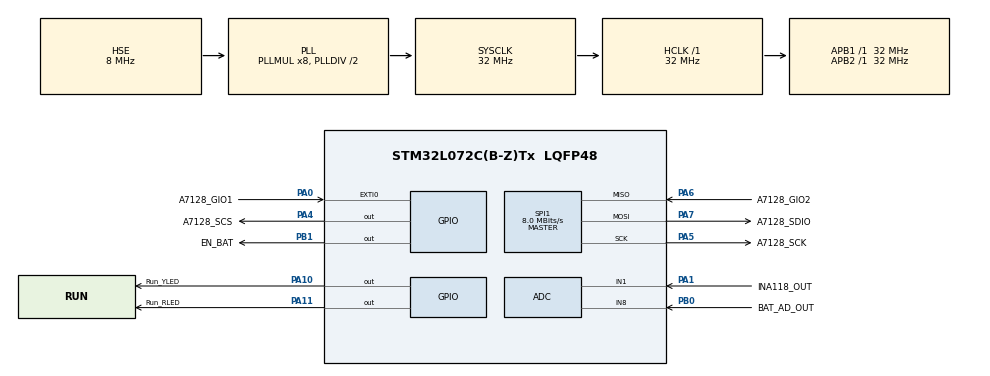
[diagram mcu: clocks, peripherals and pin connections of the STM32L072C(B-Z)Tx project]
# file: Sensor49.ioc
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ADC.ClockPrescaler=ADC_CLOCK_SYNC_PCLK_DIV4
ADC.ContinuousConvMode=DISABLE
ADC.DMAContinuousRequests=ENABLE
ADC.DiscontinuousConvMode=DISABLE
ADC.EOCSelection=ADC_EOC_SINGLE_CONV
ADC.ExternalTrigConv=ADC_EXTERNALTRIGCONV_T2_TRGO
ADC.Overrun=ADC_OVR_DATA_OVERWRITTEN
ADC.OversamplingMode=ENABLE
ADC.Ratio=ADC_OVERSAMPLING_RATIO_8
ADC.RightBitShift=ADC_RIGHTBITSHIFT_3
ADC.SamplingTime=ADC_SAMPLETIME_19CYCLES_5
ADC.TriggeredMode=ADC_TRIGGEREDMODE_SINGLE_TRIGGER
Dma.ADC.2.Direction=DMA_PERIPH_TO_MEMORY
Dma.ADC.2.Instance=DMA1_Channel1
Dma.ADC.2.MemDataAlignment=DMA_MDATAALIGN_HALFWORD
Dma.ADC.2.MemInc=DMA_MINC_ENABLE
Dma.ADC.2.Mode=DMA_CIRCULAR
Dma.ADC.2.PeriphDataAlignment=DMA_PDATAALIGN_HALFWORD
Dma.ADC.2.PeriphInc=DMA_PINC_DISABLE
Dma.ADC.2.Priority=DMA_PRIORITY_MEDIUM
Dma.Request0=SPI1_TX
Dma.Request1=SPI1_RX
Dma.Request2=ADC
Dma.SPI1_RX.1.Direction=DMA_PERIPH_TO_MEMORY
Dma.SPI1_RX.1.Instance=DMA1_Channel2
Dma.SPI1_RX.1.MemDataAlignment=DMA_MDATAALIGN_BYTE
Dma.SPI1_RX.1.MemInc=DMA_MINC_ENABLE
Dma.SPI1_RX.1.Mode=DMA_NORMAL
Dma.SPI1_RX.1.PeriphDataAlignment=DMA_PDATAALIGN_BYTE
Dma.SPI1_RX.1.PeriphInc=DMA_PINC_DISABLE
Dma.SPI1_RX.1.Priority=DMA_PRIORITY_LOW
Dma.SPI1_TX.0.Direction=DMA_MEMORY_TO_PERIPH
Dma.SPI1_TX.0.Instance=DMA1_Channel3
Dma.SPI1_TX.0.MemDataAlignment=DMA_MDATAALIGN_BYTE
Dma.SPI1_TX.0.MemInc=DMA_MINC_ENABLE
Dma.SPI1_TX.0.Mode=DMA_NORMAL
Dma.SPI1_TX.0.PeriphDataAlignment=DMA_PDATAALIGN_BYTE
Dma.SPI1_TX.0.PeriphInc=DMA_PINC_DISABLE
Dma.SPI1_TX.0.Priority=DMA_PRIORITY_LOW
Mcu.Family=STM32L0
Mcu.Name=STM32L072C(B-Z)Tx
Mcu.Package=LQFP48
NVIC.DMA1_Channel1_IRQn=true\:0\:0\:false\:false\:true\:false\:true
NVIC.DMA1_Channel2_3_IRQn=true\:1\:0\:true\:false\:true\:false\:true
NVIC.EXTI0_1_IRQn=true\:1\:0\:true\:false\:true\:true\:true
NVIC.TIM6_DAC_IRQn=true\:1\:0\:true\:false\:true\:true\:true
NVIC.TIM7_IRQn=true\:1\:0\:true\:false\:true\:true\:true
PA0.GPIO_Label=A7128_GIO1
PA0.GPIO_ModeDefaultEXTI=GPIO_MODE_IT_FALLING
PA0.GPIO_PuPd=GPIO_PULLUP
PA0.Signal=GPXTI0
PA1.GPIO_Label=INA118_OUT
PA1.Mode=IN1
PA1.Signal=ADC_IN1
PA10.GPIO_Label=Run_YLED
PA10.PinState=GPIO_PIN_SET
PA10.Signal=GPIO_Output
PA11.GPIO_Label=Run_RLED
PA11.PinState=GPIO_PIN_SET
PA11.Signal=GPIO_Output
PA13.Mode=Serial_Wire
PA13.Signal=SYS_SWDIO
PA14.Mode=Serial_Wire
PA14.Signal=SYS_SWCLK
PA4.GPIO_Label=A7128_SCS
PA4.GPIO_ModeDefaultOutputPP=GPIO_MODE_OUTPUT_PP
PA4.GPIO_PuPd=GPIO_PULLUP
PA4.GPIO_Speed=GPIO_SPEED_FREQ_HIGH
PA4.PinState=GPIO_PIN_SET
PA4.Signal=GPIO_Output
PA5.GPIO_Label=A7128_SCK
PA5.Mode=Full_Duplex_Master
PA5.Signal=SPI1_SCK
PA6.GPIO_Label=A7128_GIO2
PA6.Mode=Full_Duplex_Master
PA6.Signal=SPI1_MISO
PA7.GPIO_Label=A7128_SDIO
PA7.Mode=Full_Duplex_Master
PA7.Signal=SPI1_MOSI
PB0.GPIO_Label=BAT_AD_OUT
PB0.Mode=IN8
PB0.Signal=ADC_IN8
PB1.GPIO_Label=EN_BAT
PB1.Signal=GPIO_Output
PH0-OSC_IN.Mode=HSE-External-Oscillator
PH0-OSC_IN.Signal=RCC_OSC_IN
PH1-OSC_OUT.Mode=HSE-External-Oscillator
PH1-OSC_OUT.Signal=RCC_OSC_OUT
ProjectManager.HeapSize=0x200
ProjectManager.StackSize=0x400
ProjectManager.TargetToolchain=Other Toolchains (GPDSC)
RCC.ADCFreq_Value=16000000
RCC.AHBFreq_Value=32000000
RCC.APB1Freq_Value=32000000
RCC.APB1TimFreq_Value=32000000
RCC.APB2Freq_Value=32000000
RCC.APB2TimFreq_Value=32000000
RCC.HCLKFreq_Value=32000000
RCC.HSE_VALUE=8000000
RCC.HSI16_VALUE=16000000
RCC.HSI48_VALUE=48000000
RCC.HSI_VALUE=16000000
RCC.LSE_VALUE=32768
RCC.MSI_VALUE=2097000
RCC.PLLMUL=RCC_PLLMUL_8
RCC.PLLSourceVirtual=RCC_PLLSOURCE_HSE
RCC.SYSCLKFreq_VALUE=32000000
RCC.SYSCLKSource=RCC_SYSCLKSOURCE_PLLCLK
RCC.VCOOutputFreq_Value=64000000
SPI1.BaudRatePrescaler=SPI_BAUDRATEPRESCALER_4
SPI1.CalculateBaudRate=8.0 MBits/s
SPI1.Direction=SPI_DIRECTION_2LINES
SPI1.Mode=SPI_MODE_MASTER
SPI1.TIMode=SPI_TIMODE_DISABLE
SPI1.VirtualType=VM_MASTER
TIM2.Period=6249
TIM2.Prescaler=0
TIM2.TIM_MasterOutputTrigger=TIM_TRGO_UPDATE
TIM6.Period=10000
TIM6.Prescaler=31999
TIM7.Period=31999
TIM7.Prescaler=0
VP_TIM2_VS_ClockSourceINT.Mode=Internal
VP_TIM6_VS_ClockSourceINT.Mode=Enable_Timer
VP_TIM7_VS_ClockSourceINT.Mode=Enable_Timer
board=custom

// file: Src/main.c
/* USER CODE BEGIN Header */
/**
  ******************************************************************************
  * @file           : main.c
  * @brief          : Main program body
  ******************************************************************************
  * @attention
  *
  * <h2><center>&copy; Copyright (c) 2019 STMicroelectronics.
  * All rights reserved.</center></h2>
  *
  * This software component is licensed by ST under BSD 3-Clause license,
  * the "License"; You may not use this file except in compliance with the
  * License. You may obtain a copy of the License at:
  *                        opensource.org/licenses/BSD-3-Clause
  *
  ******************************************************************************
  */
/* USER CODE END Header */

#include "main.h"
#include "adc.h"
#include "dma.h"
#include "spi.h"
#include "tim.h"
#include "gpio.h"

/* USER CODE BEGIN Includes */
#include "..\..\..\A7128\A7128.h"
#include "..\..\..\..\..\WF_Device\stm32\wfSys.h"
#include "..\wf\Variables.h"
#include "..\wf\Function.h"
#include "..\Drivers\STM32L0xx_HAL_Driver\Inc\stm32l0xx_hal_adc_ex.h"
#include "..\..\..\..\..\WF_Device\wfDefine.h"
/* USER CODE END Includes */

void SystemClock_Config(void);

/* USER CODE BEGIN 0 */
uint8_t PN9_Tab[]=
{   0xFF,0x83,0xDF,0x17,0x32,0x09,0x4E,0xD1,
0xE7,0xCD,0x8A,0x91,0xC6,0xD5,0xC4,0xC4,
0x40,0x21,0x18,0x4E,0x55,0x86,0xF4,0xDC,
0x8A,0x15,0xA7,0xEC,0x92,0xDF,0x93,0x53,
0x30,0x18,0xCA,0x34,0xBF,0xA2,0xC7,0x59,
0x67,0x8F,0xBA,0x0D,0x6D,0xD8,0x2D,0x7D,
0x54,0x0A,0x57,0x97,0x70,0x39,0xD2,0x7A,
0xEA,0x24,0x33,0x85,0xED,0x9A,0x1D,0xE0
};
uint8_t oldA7128_RxFIFO[64];
uint32_t bFirst;
uint32_t bRLEDOn;
uint32_t bRXing;
uint32_t RLEOnTick;
/* USER CODE END 0 */

int main(void)
{
  /* USER CODE BEGIN 1 */
	uint32_t i;
	uint32_t x;
	uint8_t ux;
	float fx;
	uint16_t u16x;
	ADC_ChannelConfTypeDef sConfig = {0};
  /* USER CODE END 1 */

  /* MCU Configuration--------------------------------------------------------*/

  /* Reset of all peripherals, Initializes the Flash interface and the Systick. */
  HAL_Init();

  /* Configure the system clock */
  SystemClock_Config();

  /* USER CODE BEGIN SysInit */
  MX_GPIO_Init();
  //EEData.u16[0]=0x6677;
  //EEData.u8[2]=5;
  //wfEEPROM_WriteWord(0,EEData.u32);
  //EEData.u32=0;
//   SensorIDData.u16[0]=0x6677;
//   SensorIDData.u8[2]=10;
//   wfEEPROM_WriteWord(0,SensorIDData.u32);
//   SensorIDData.u32=0;
  SensorIDData.u32=wfEEPROM_ReadWord(0);
  if(SensorIDData.u16[0]==0x6677)//��ַ��֤��ȷ
  {
	  SensorAddr=SensorIDData.u8[2];
	  Linear_k.u32=wfEEPROM_ReadWord(4);
	  Linear_b.u32=wfEEPROM_ReadWord(8);
	  SensorGain.u32=wfEEPROM_ReadWord(12);
  }
  else
  {
	  SensorAddr=101;
	  Linear_k.f=1;
	  Linear_b.f=0;
	  SensorGain.f=1;
	  SensorIDData.u16[0]=0x6677;
	  SensorIDData.u8[2]=101;
	  wfEEPROM_WriteWord(0,SensorIDData.u32);
	  wfEEPROM_WriteWord(4,Linear_k.u32);
	  wfEEPROM_WriteWord(8,Linear_b.u32);
	  wfEEPROM_WriteWord(12,SensorGain.u32);

  }
  InitTimeIndex();

  /* USER CODE END SysInit */

  /* Initialize all configured peripherals */
  MX_DMA_Init();
  MX_ADC_Init();
  MX_SPI1_Init();
  MX_TIM7_Init();
  MX_TIM2_Init();
  MX_TIM6_Init();
  /* USER CODE BEGIN 2 */
  wfDelay_init(32);
  HAL_NVIC_DisableIRQ(EXTI0_1_IRQn);
   A7128_Init();
   A7128_StrobeCmd(CMD_STBY);
   A7128_SetCH(60); //freq 915.001MHz
  NetWorkType=Net_RxData;
  bFirst=1;
  ADCSaveIndex=0;
  YLED_OFF();
  RLED_OFF();
  ENBAT_Disable();
//   EN_ADD_3P3_Disable();
//   EN_ADD_1P25_Disable();
  htim2.Instance->PSC = tim2Prescaler[SensorType];//0;
  htim2.Instance->ARR = tim2Period[SensorType];//6249;
  /************************************************************************/
  /*                                                                      */
  /************************************************************************/
  YLED_ON();
//   bNewFrame=0;
//   TimeIndex=999;
//   HAL_TIM_Base_Stop_IT(&htim7);
//   __HAL_TIM_SET_COUNTER(&htim7,0);
//   __HAL_TIM_CLEAR_IT(&htim7,TIM_IT_UPDATE);
//   HAL_TIM_Base_Start_IT(&htim7);
//   A7128_SetRx();
//
//     HAL_ADC_Stop(&hadc);
//     HAL_ADCEx_Calibration_Start(&hadc,ADC_SINGLE_ENDED);//У׼ADC��24us
//     sConfig.Channel = ADC_CHANNEL_1;
//     sConfig.Rank = ADC_RANK_CHANNEL_NUMBER;
//     if (HAL_ADC_ConfigChannel(&hadc, &sConfig) != HAL_OK)
//     {
//   	  Error_Handler();
//     }
//     sConfig.Channel = ADC_CHANNEL_8;
//     sConfig.Rank = ADC_RANK_CHANNEL_NUMBER;
//     if (HAL_ADC_ConfigChannel(&hadc, &sConfig) != HAL_OK)
//     {
//   	  Error_Handler();
//     }
//     ENBAT_Enable();
//     EN_ADD_3P3_Enable();
//     EN_ADD_1P25_Enable();
//     ADCSaveIndex=0;
//     ADCData4TXBuf=ADCData4TX2;
//     ADCData4SaveBuf=ADCData4TX1;
//     HAL_TIM_Base_Start(&htim2);
//     HAL_ADC_Start_DMA(&hadc, (uint32_t *)ADCData4DMA.u8, 4);
//     while(1)
//     {
// 		if(bNewFrame)
// 		{
// 			bNewFrame=0;
// 			PCM_TxBuf[0]=0x16;
// 			PCM_TxBuf[1]=0x16;
// 			PCM_TxBuf[2]=ADCDataSendCommand;
// 			PCM_TxBuf[3]=0x1e;
// 			PCM_TxBuf[4]=0x01;
// 			PCM_TxBuf[5]=0x00;
// 			PCM_TxBuf[6]=0x0d;
// 			HAL_UART_Transmit(&huart2,PCM_TxBuf,5,1000);
// 			HAL_UART_Transmit(&huart2,ADCData4TXBuf,7680,1000);
// 			ux=ADCBATData;
// 			HAL_UART_Transmit(&huart2,&ux,1,1000);
// 			HAL_UART_Transmit(&huart2,&PCM_TxBuf[5],2,1000);
// 		}
//     }
  //   while (1)
  //   {
  // 	  A7128_StrobeCmd(CMD_RX);
  // 	  while(A7128_GIO1_Read()==1);
  // 	  A7128_RxPacket();
  //   }
  //   for(i=0;i<6;i++)
  //   {
  // 	  __HAL_TIM_SET_COUNTER(&htim6,0);
  // 	  wfDelay_ms(500);
  //   }
//  ENBAT_Enable();
//  EN_ADD_3P3_Enable();
//  EN_ADD_1P25_Enable();
//   HAL_TIM_Base_Start_IT(&htim2);
//   HAL_ADC_Start_DMA(&hadc, (uint32_t *)ADCData4DMA.u8, 4);
////   RLED_Toggle();
////   ADCBAT();
////  while(1)
////  {
////// 	  RLED_Toggle();
////// 	  ADCBAT();
////  }
//
//
   //HAL_ADC_Stop(&hadc);
   //HAL_ADCEx_Calibration_Start(&hadc,ADC_SINGLE_ENDED);//У׼ADC��24us
   //sConfig.Channel = ADC_CHANNEL_1;
   //sConfig.Rank = ADC_RANK_CHANNEL_NUMBER;
   //if (HAL_ADC_ConfigChannel(&hadc, &sConfig) != HAL_OK)
   //{
 	 // Error_Handler();
   //}
   //sConfig.Channel = ADC_CHANNEL_8;
   //sConfig.Rank = ADC_RANK_CHANNEL_NUMBER;
   //if (HAL_ADC_ConfigChannel(&hadc, &sConfig) != HAL_OK)
   //{
 	 // Error_Handler();
   //}
   //ENBAT_Enable();
   //EN_ADD_3P3_Enable();
   //EN_ADD_1P25_Enable();
   //ADCSaveIndex=0;
   //ADCData4TXBuf=ADCData4TX2;
   //ADCData4SaveBuf=ADCData4TX1;
   //HAL_TIM_Base_Start(&htim2);
   //HAL_ADC_Start_DMA(&hadc, (uint32_t *)ADCData4DMA.u8, 4);
   //while(1)
   //{

   //}
  /************************************************************************/
  /*                                                                      */
  /************************************************************************/
     __HAL_TIM_SET_COUNTER(&htim6,0);
     __HAL_TIM_CLEAR_IT(&htim6,TIM_IT_UPDATE);
     HAL_TIM_Base_Start_IT(&htim6);

  A7128_SetRx();
  NetWorkType=Net_RxData;
//  A7128_StrobeCmd(CMD_RX); //entry rx
  /* USER CODE END 2 */

  /* Infinite loop */
  while (1)
  {
  }

}

void SystemClock_Config(void)
{
  RCC_OscInitTypeDef RCC_OscInitStruct = {0};
  RCC_ClkInitTypeDef RCC_ClkInitStruct = {0};

  /** Configure the main internal regulator output voltage
  */
  __HAL_PWR_VOLTAGESCALING_CONFIG(PWR_REGULATOR_VOLTAGE_SCALE1);
  /** Initializes the CPU, AHB and APB busses clocks
  */
  RCC_OscInitStruct.OscillatorType = RCC_OSCILLATORTYPE_HSE;
  RCC_OscInitStruct.HSEState = RCC_HSE_ON;
  RCC_OscInitStruct.PLL.PLLState = RCC_PLL_ON;
  RCC_OscInitStruct.PLL.PLLSource = RCC_PLLSOURCE_HSE;
  RCC_OscInitStruct.PLL.PLLMUL = RCC_PLLMUL_8;
  RCC_OscInitStruct.PLL.PLLDIV = RCC_PLLDIV_2;
  if (HAL_RCC_OscConfig(&RCC_OscInitStruct) != HAL_OK)
  {
    Error_Handler();
  }
  /** Initializes the CPU, AHB and APB busses clocks
  */
  RCC_ClkInitStruct.ClockType = RCC_CLOCKTYPE_HCLK|RCC_CLOCKTYPE_SYSCLK
                              |RCC_CLOCKTYPE_PCLK1|RCC_CLOCKTYPE_PCLK2;
  RCC_ClkInitStruct.SYSCLKSource = RCC_SYSCLKSOURCE_PLLCLK;
  RCC_ClkInitStruct.AHBCLKDivider = RCC_SYSCLK_DIV1;
  RCC_ClkInitStruct.APB1CLKDivider = RCC_HCLK_DIV1;
  RCC_ClkInitStruct.APB2CLKDivider = RCC_HCLK_DIV1;

  if (HAL_RCC_ClockConfig(&RCC_ClkInitStruct, FLASH_LATENCY_1) != HAL_OK)
  {
    Error_Handler();
  }
}

void Error_Handler(void)
{
}

/************************ (C) COPYRIGHT STMicroelectronics *****END OF FILE****/
